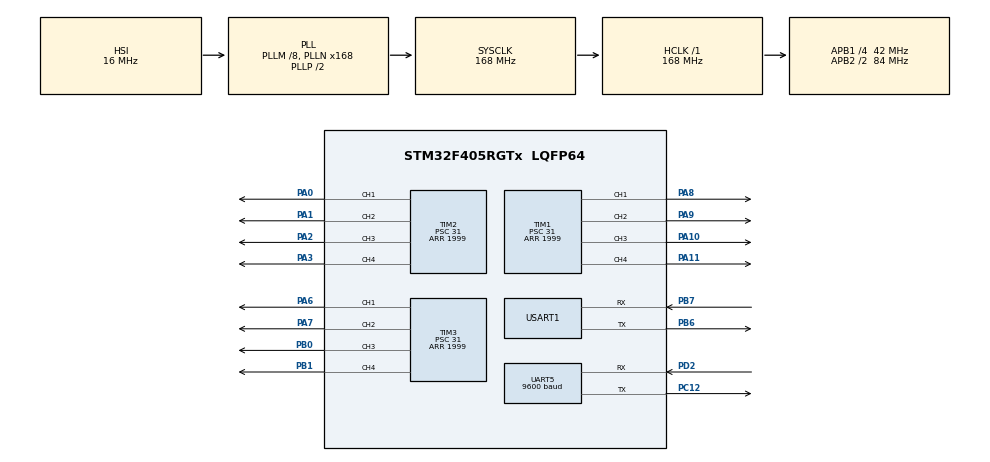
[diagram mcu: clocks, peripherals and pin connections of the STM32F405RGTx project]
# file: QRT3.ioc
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Dma.Request0=UART5_RX
Dma.Request1=UART5_TX
Dma.Request2=USART1_RX
Dma.Request3=USART1_TX
Dma.UART5_RX.0.Direction=DMA_PERIPH_TO_MEMORY
Dma.UART5_RX.0.FIFOMode=DMA_FIFOMODE_DISABLE
Dma.UART5_RX.0.Instance=DMA1_Stream0
Dma.UART5_RX.0.MemDataAlignment=DMA_MDATAALIGN_BYTE
Dma.UART5_RX.0.MemInc=DMA_MINC_ENABLE
Dma.UART5_RX.0.Mode=DMA_CIRCULAR
Dma.UART5_RX.0.PeriphDataAlignment=DMA_PDATAALIGN_BYTE
Dma.UART5_RX.0.PeriphInc=DMA_PINC_DISABLE
Dma.UART5_RX.0.Priority=DMA_PRIORITY_LOW
Dma.UART5_TX.1.Direction=DMA_MEMORY_TO_PERIPH
Dma.UART5_TX.1.FIFOMode=DMA_FIFOMODE_DISABLE
Dma.UART5_TX.1.Instance=DMA1_Stream7
Dma.UART5_TX.1.MemDataAlignment=DMA_MDATAALIGN_BYTE
Dma.UART5_TX.1.MemInc=DMA_MINC_ENABLE
Dma.UART5_TX.1.Mode=DMA_CIRCULAR
Dma.UART5_TX.1.PeriphDataAlignment=DMA_PDATAALIGN_BYTE
Dma.UART5_TX.1.PeriphInc=DMA_PINC_DISABLE
Dma.UART5_TX.1.Priority=DMA_PRIORITY_LOW
Dma.USART1_RX.2.Direction=DMA_PERIPH_TO_MEMORY
Dma.USART1_RX.2.FIFOMode=DMA_FIFOMODE_DISABLE
Dma.USART1_RX.2.Instance=DMA2_Stream2
Dma.USART1_RX.2.MemDataAlignment=DMA_MDATAALIGN_BYTE
Dma.USART1_RX.2.MemInc=DMA_MINC_ENABLE
Dma.USART1_RX.2.Mode=DMA_CIRCULAR
Dma.USART1_RX.2.PeriphDataAlignment=DMA_PDATAALIGN_BYTE
Dma.USART1_RX.2.PeriphInc=DMA_PINC_DISABLE
Dma.USART1_RX.2.Priority=DMA_PRIORITY_HIGH
Dma.USART1_TX.3.Direction=DMA_MEMORY_TO_PERIPH
Dma.USART1_TX.3.FIFOMode=DMA_FIFOMODE_DISABLE
Dma.USART1_TX.3.Instance=DMA2_Stream7
Dma.USART1_TX.3.MemDataAlignment=DMA_MDATAALIGN_BYTE
Dma.USART1_TX.3.MemInc=DMA_MINC_ENABLE
Dma.USART1_TX.3.Mode=DMA_CIRCULAR
Dma.USART1_TX.3.PeriphDataAlignment=DMA_PDATAALIGN_BYTE
Dma.USART1_TX.3.PeriphInc=DMA_PINC_DISABLE
Dma.USART1_TX.3.Priority=DMA_PRIORITY_HIGH
Mcu.Family=STM32F4
Mcu.Name=STM32F405RGTx
Mcu.Package=LQFP64
NVIC.DMA1_Stream0_IRQn=true\:0\:0\:false\:false\:true\:false\:true\:true
NVIC.DMA1_Stream7_IRQn=true\:0\:0\:false\:false\:true\:false\:true\:true
NVIC.DMA2_Stream2_IRQn=true\:2\:0\:true\:false\:true\:false\:true\:true
NVIC.DMA2_Stream7_IRQn=true\:0\:0\:false\:false\:true\:false\:true\:true
NVIC.PriorityGroup=NVIC_PRIORITYGROUP_4
NVIC.UART5_IRQn=true\:0\:0\:false\:false\:true\:true\:true\:true
NVIC.USART1_IRQn=true\:1\:0\:true\:false\:true\:true\:true\:true
PA0-WKUP.Signal=S_TIM2_CH1_ETR
PA1.Signal=S_TIM2_CH2
PA10.Signal=S_TIM1_CH3
PA11.Signal=S_TIM1_CH4
PA2.Signal=S_TIM2_CH3
PA3.Signal=S_TIM2_CH4
PA6.Signal=S_TIM3_CH1
PA7.Signal=S_TIM3_CH2
PA8.Signal=S_TIM1_CH1
PA9.Signal=S_TIM1_CH2
PB0.Signal=S_TIM3_CH3
PB1.Signal=S_TIM3_CH4
PB6.Mode=Asynchronous
PB6.Signal=USART1_TX
PB7.Mode=Asynchronous
PB7.Signal=USART1_RX
PC12.Mode=Asynchronous
PC12.Signal=UART5_TX
PD2.Mode=Asynchronous
PD2.Signal=UART5_RX
ProjectManager.HeapSize=0x200
ProjectManager.StackSize=0x400
ProjectManager.TargetToolchain=MDK-ARM V5.32
RCC.48MHZClocksFreq_Value=84000000
RCC.AHBFreq_Value=168000000
RCC.APB1CLKDivider=RCC_HCLK_DIV4
RCC.APB1Freq_Value=42000000
RCC.APB1TimFreq_Value=84000000
RCC.APB2CLKDivider=RCC_HCLK_DIV2
RCC.APB2Freq_Value=84000000
RCC.APB2TimFreq_Value=168000000
RCC.CortexFreq_Value=168000000
RCC.HCLKFreq_Value=168000000
RCC.HSE_VALUE=25000000
RCC.HSI_VALUE=16000000
RCC.LSE_VALUE=32768
RCC.PLLM=8
RCC.PLLN=168
RCC.SYSCLKFreq_VALUE=168000000
RCC.SYSCLKSource=RCC_SYSCLKSOURCE_PLLCLK
RCC.VCOOutputFreq_Value=336000000
SH.S_TIM1_CH1.0=TIM1_CH1,PWM Generation1 CH1
SH.S_TIM1_CH2.0=TIM1_CH2,PWM Generation2 CH2
SH.S_TIM1_CH3.0=TIM1_CH3,PWM Generation3 CH3
SH.S_TIM1_CH4.0=TIM1_CH4,PWM Generation4 CH4
SH.S_TIM2_CH1_ETR.0=TIM2_CH1,PWM Generation1 CH1
SH.S_TIM2_CH2.0=TIM2_CH2,PWM Generation2 CH2
SH.S_TIM2_CH3.0=TIM2_CH3,PWM Generation3 CH3
SH.S_TIM2_CH4.0=TIM2_CH4,PWM Generation4 CH4
SH.S_TIM3_CH1.0=TIM3_CH1,PWM Generation1 CH1
SH.S_TIM3_CH2.0=TIM3_CH2,PWM Generation2 CH2
SH.S_TIM3_CH3.0=TIM3_CH3,PWM Generation3 CH3
SH.S_TIM3_CH4.0=TIM3_CH4,PWM Generation4 CH4
TIM1.Channel-PWM\ Generation1\ CH1=TIM_CHANNEL_1
TIM1.Channel-PWM\ Generation2\ CH2=TIM_CHANNEL_2
TIM1.Channel-PWM\ Generation3\ CH3=TIM_CHANNEL_3
TIM1.Channel-PWM\ Generation4\ CH4=TIM_CHANNEL_4
TIM1.Period=1999
TIM1.Prescaler=31
TIM2.Channel-PWM\ Generation1\ CH1=TIM_CHANNEL_1
TIM2.Channel-PWM\ Generation2\ CH2=TIM_CHANNEL_2
TIM2.Channel-PWM\ Generation3\ CH3=TIM_CHANNEL_3
TIM2.Channel-PWM\ Generation4\ CH4=TIM_CHANNEL_4
TIM2.Period=1999
TIM2.Prescaler=31
TIM3.Channel-PWM\ Generation1\ CH1=TIM_CHANNEL_1
TIM3.Channel-PWM\ Generation2\ CH2=TIM_CHANNEL_2
TIM3.Channel-PWM\ Generation3\ CH3=TIM_CHANNEL_3
TIM3.Channel-PWM\ Generation4\ CH4=TIM_CHANNEL_4
TIM3.Period=1999
TIM3.Prescaler=31
UART5.BaudRate=9600
UART5.VirtualMode=Asynchronous
USART1.VirtualMode=VM_ASYNC
VP_TIM1_VS_ClockSourceINT.Mode=Internal
VP_TIM2_VS_ClockSourceINT.Mode=Internal
VP_TIM3_VS_ClockSourceINT.Mode=Internal
board=custom

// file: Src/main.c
/* USER CODE BEGIN Header */
/**
  ******************************************************************************
  * @file           : main.c
  * @brief          : Main program body
  ******************************************************************************
  * @attention
  *
  * <h2><center>&copy; Copyright (c) 2022 STMicroelectronics.
  * All rights reserved.</center></h2>
  *
  * This software component is licensed by ST under BSD 3-Clause license,
  * the "License"; You may not use this file except in compliance with the
  * License. You may obtain a copy of the License at:
  *                        opensource.org/licenses/BSD-3-Clause
  *
  ******************************************************************************
  */
/* USER CODE END Header */
#include "main.h"
#include "dma.h"
#include "tim.h"
#include "usart.h"
#include "gpio.h"

/* USER CODE BEGIN Includes */
#include "stdio.h"
#include "includes.h"
#include "attitude_pid.h"
#include "rasp_command.h"
#include "motortest.h"
#include "JY901.h"
#include "pwm_control.h"
#include "position_pid.h"
#include "STMFlash.h"
/* USER CODE END Includes */

/* USER CODE BEGIN PTD */
#define START_TASK_PRIO 3
//任务堆栈大小
#define START_STK_SIZE 128
//任务控制块
OS_TCB StartTaskTCB;
//任务堆栈
CPU_STK START_TASK_STK[START_STK_SIZE];
//任务函数
void start_task(void *p_arg);

void Water_Attitude_Control(control_t *output);
uint8_t ubuf[128];
#define INFO(...) HAL_UART_Transmit(&huart1,\
										 (uint8_t *)ubuf,\
										 sprintf((char *)ubuf,__VA_ARGS__),\
										 0xffff);

int fputc(int ch,FILE *f){
	HAL_UART_Transmit(&huart1,(uint8_t *)&ch,1,0xffff);
	return ch;
};

struct ORDER{
float angle[3];
float velocity[3];
float model[4];}order;

//communicate任务
//设置任务优先级
#define COMMUNICATE_TASK_PRIO 6					// SBUS 信号的更新是在串口中断中进行的
//任务堆栈大小
#define COMMUNICATE_STK_SIZE 512
//任务控制块
OS_TCB CommunicateTaskTCB;
//任务堆栈
CPU_STK COMMUNICATE_TASK_STK[COMMUNICATE_STK_SIZE];
//led0任务
void communicate_task(void *p_arg);

//sensorTask 参数配置任务 在线调试参数并写入flash
//设置任务优先级
#define SENSOR_TASK_PRIO 5
//任务堆栈大小
#define SENSOR_STK_SIZE 512
//任务控制块
OS_TCB SensorTaskTCB;
//任务堆栈
CPU_STK SENSOR_TASK_STK[SENSOR_STK_SIZE];
//motor任务
uint8_t sensor_task(void *p_arg);

//stabalizer任务
//设置任务优先级
#define STABILIZATION_TASK_PRIO 4
//任务堆栈大小
#define STABILIZATION_STK_SIZE 2048
//任务控制块
OS_TCB StabilizationTaskTCB;
//任务堆栈
CPU_STK STABILIZATION_TASK_STK[STABILIZATION_STK_SIZE];
//led0任务
void stabilization_task(void *p_arg);

//config 参数配置任务 在线调试参数并写入flash
//设置任务优先级
#define TRANSMISSION_TASK_PRIO 6			// 这个任务的优先级对串口收发的速度影响很大，不可太低，更改之后要重新测试串口3通信
//任务堆栈大小
#define TRANSMISSION_STK_SIZE 1024
//任务控制块
OS_TCB TransmissionTaskTCB;
//任务堆栈
CPU_STK TRANSMISSION_TASK_STK[TRANSMISSION_STK_SIZE];
//motor任务
uint8_t transmission_task(void *p_arg);

//开始任务函数
void start_task(void *p_arg)
{
	OS_ERR err;
	CPU_SR_ALLOC();
	p_arg = p_arg;
	BSP_Init();

#if OS_CFG_STAT_TASK_EN > 0u
	OSStatTaskCPUUsageInit(&err); //统计任务
#endif

#ifdef CPU_CFG_INT_DIS_MEAS_EN //如果使能了测量中断关闭时间
	CPU_IntDisMeasMaxCurReset();
#endif

#if OS_CFG_SCHED_ROUND_ROBIN_EN //当使用时间片轮转的时候
	//使能时间片轮转调度功能,设置默认的时间片长度
	OSSchedRoundRobinCfg(DEF_ENABLED, 1, &err);
#endif
	__HAL_RCC_CRC_CLK_ENABLE(); //使能CRC时钟

	OS_CRITICAL_ENTER();		//进入临界区

	//communicate任务 通信任务
	OSTaskCreate((OS_TCB *)&CommunicateTaskTCB,
				 (CPU_CHAR *)"Communicate task",
				 (OS_TASK_PTR)communicate_task,
				 (void *)0,
				 (OS_PRIO)COMMUNICATE_TASK_PRIO,
				 (CPU_STK *)&COMMUNICATE_TASK_STK[0],
				 (CPU_STK_SIZE)COMMUNICATE_STK_SIZE / 10,
				 (CPU_STK_SIZE)COMMUNICATE_STK_SIZE,
				 (OS_MSG_QTY)0,
				 (OS_TICK)10,
				 (void *)0,
				 (OS_OPT)OS_OPT_TASK_STK_CHK | OS_OPT_TASK_STK_CLR | OS_OPT_TASK_SAVE_FP,
				 (OS_ERR *)&err);

				 //Sensor任务
	OSTaskCreate((OS_TCB *)&SensorTaskTCB,
				(CPU_CHAR *)"Sensor task",
				(OS_TASK_PTR)sensor_task,
				(void *)0,
				(OS_PRIO)SENSOR_TASK_PRIO,
				(CPU_STK *)&SENSOR_TASK_STK[0],
				(CPU_STK_SIZE)SENSOR_STK_SIZE / 10,
				(CPU_STK_SIZE)SENSOR_STK_SIZE,
				(OS_MSG_QTY)0,
				(OS_TICK)10,
				(void *)0,
				(OS_OPT)OS_OPT_TASK_STK_CHK | OS_OPT_TASK_STK_CLR |OS_OPT_TASK_SAVE_FP,
				(OS_ERR *)&err);

	OSTaskCreate((OS_TCB *)&StabilizationTaskTCB,
				 (CPU_CHAR *)"Stabilization task",
				 (OS_TASK_PTR)stabilization_task,
				 (void *)0,
				 (OS_PRIO)STABILIZATION_TASK_PRIO,
				 (CPU_STK *)&STABILIZATION_TASK_STK[0],
				 (CPU_STK_SIZE)STABILIZATION_STK_SIZE / 10,
				 (CPU_STK_SIZE)STABILIZATION_STK_SIZE,
				 (OS_MSG_QTY)0,
				 (OS_TICK)10,
				 (void *)0,
				 (OS_OPT)OS_OPT_TASK_STK_CHK | OS_OPT_TASK_STK_CLR |OS_OPT_TASK_SAVE_FP,
				 (OS_ERR *)&err);

//	OSTaskCreate((OS_TCB *)&TransmissionTaskTCB,
//				 (CPU_CHAR *)"Transmission task",
//				 (OS_TASK_PTR)transmission_task,
//				 (void *)0,
//				 (OS_PRIO)TRANSMISSION_TASK_PRIO,
//				 (CPU_STK *)&TRANSMISSION_TASK_STK[0],
//				 (CPU_STK_SIZE)TRANSMISSION_STK_SIZE / 10,
//				 (CPU_STK_SIZE)TRANSMISSION_STK_SIZE,
//				 (OS_MSG_QTY)0,
//				 (OS_TICK)10,
//				 (void *)0,
//				 (OS_OPT)OS_OPT_TASK_STK_CHK | OS_OPT_TASK_STK_CLR | OS_OPT_TASK_SAVE_FP,
//				 (OS_ERR *)&err);

	OS_TaskSuspend((OS_TCB *)&StartTaskTCB, &err); //挂起开始任务

	OS_CRITICAL_EXIT(); //退出临界区
}

// 在线调试参数用
// 上传参数到地面站
uint8_t transmission_task(void *p_arg)
{
	OS_ERR err;
	CPU_SR_ALLOC();
	uint8_t lenth;

	lenth = sizeof(configParam);
	lenth = lenth / 4 + (lenth % 4 ? 1 : 0);
	STMFLASH_Read(CONFIG_PARAM_ADDR, (uint32_t *)&configParam, lenth);

	while (1)
	{
//		uploadPID();
//		uploadStateInfo();
//		uploadMotoInfo();
//		uploadPowerAndWaterInfo();
//		uploadIMUInfo();
//		uploadGPSInfo();

		// // 校验值不一致，说明参数发生了改变,更新到flash中
		if (configParamCksum(&configParam) != configParam.cksum) // 参数的校验值
		{
			INFO("enter this progress\r\n");
			configParam.cksum = configParamCksum(&configParam);  // 更新校验值
			STMFLASH_Write(CONFIG_PARAM_ADDR, (uint32_t *)&configParam, lenth); /*写入stm32 flash*/
			attitudeResetAllPID();												 //PID复位
			positionResetAllPID();
			attitudeControlInit(); // 用新的参数重新初始化pid
			positionControlInit();
		}

		OSTimeDly(20, OS_OPT_TIME_DLY, &err);
	}
}

void stabilization_task(void *p_arg)
{
	OS_ERR err;
	CPU_SR_ALLOC();
//    motor_test();
	uint8_t lenth = sizeof(configParam);
	lenth = lenth / 4 + (lenth % 4 ? 1 : 0);
	STMFLASH_Read(CONFIG_PARAM_ADDR, (uint32_t *)&configParam, lenth);   //载入PID参数
	attitudeControlInit();
	while(1)
	{
	    Water_Attitude_Control(&control);
		pwmControl(&control);
		OSTimeDly(60, OS_OPT_TIME_DLY, &err);
	}
}

uint8_t sensor_task(void *p_arg)
{
	OS_ERR err;
	CPU_SR_ALLOC();

	float Gyro[3], Angle[3];
	uint8_t count = 20;

	HAL_UART_Receive_DMA(&huart1,aRxBuffer1,sizeof(aRxBuffer1));
	HAL_UART_Receive_DMA(&huart5,aRxBuffer2,sizeof(aRxBuffer2));

	//滤波初始化

	while (count--)
	{
		sensorReadAngle(Gyro, Angle);
	}

	// 初始化之后，所有期望值复制为实际值
	state.realAngle.roll = Angle[0];
	state.realAngle.pitch = Angle[1];
	state.realAngle.yaw = Angle[2];
	setstate.expectedAngle.roll = state.realAngle.roll;
	setstate.expectedAngle.pitch = state.realAngle.pitch;
	setstate.expectedAngle.yaw = state.realAngle.yaw; //初始化之后将当前的姿态角作为期望姿态角初值

	while (1)
	{

		/********************************************** 获取期望值与测量值*******************************************/
		sensorReadAngle(Gyro, Angle);
		//反馈值
		state.realAngle.roll = Angle[0];
		state.realAngle.pitch = Angle[1];
		state.realAngle.yaw = Angle[2];
//		INFO("Agnle:%f,%f,%f\n ",Angle[0],Angle[1],Angle[2]);
		state.realRate.roll = Gyro[0];
		state.realRate.pitch = Gyro[1];
		state.realRate.yaw = Gyro[2];
		OSTimeDly(30, OS_OPT_TIME_DLY, &err);

	}
}

//void Water_Attitude_Control2(control_t *output)
//{
//    float turn_speed;
//    float z_speed;
//    float forward_speed;

///*************************** 针对 手动模式和定高模式 以及 模式切换做预处理 ***********************************/
//    // 手动模式下油门通道转化为油门基准值
//    if (command[CARRY_MODE] == HAND_MODE)
//    {
//        posPid.isAltHoldMode = false;
//    }
//    // 定高（定深）时油门保持在设定的基准值，这个基准值刚好让机器人悬浮，油门通道此时转化为 z 轴速度
//    else if (command[CARRY_MODE] == DEPTH_MODE)
//    {
//        posPid.isAltHoldMode = true;
//    }
//    // 由手动模式切换到定深模式 // 由定深模式切换到手动模式
//    if ((posPid.isAltHoldMode == true && posPid.preMode == false) ||
//        (posPid.isAltHoldMode == false && posPid.preMode == true))
//    {
//        positionResetAllPID();
//        control.depthOut = 0; // 深度环PID置0
//    }
//    posPid.preMode = posPid.isAltHoldMode; // 当前模式变为pre模式

//    turn_speed = pwm2Range(command[YAW], -1000.0f, 1000.0f);
//    if (turn_speed < 30.0f && turn_speed > -30.0f)
//        turn_speed = 0.f; // 死区
//    z_speed = pwm2Range(command[THROTTLE], -1000.0f, 1000.0f);
//    if (z_speed < 30.0f && z_speed > -30.0f)
//        z_speed = 0.f; // 死区
///*************************** 针对 手动模式和定高模式 以及 模式切换做预处理 ***********************************/

///*************************************** 定高模式下控制 ************************************************/
//    // 高度环 PID 计算并作用到油门值，调整直到达到悬浮状态
//    if (posPid.isAltHoldMode == true)
//    {
//        // 不使能时，电机锁定
//        if (command[ALTHOLD_ENABLE] == HOLD_DISABLE) // 定高禁止，不运动，复位所有PID
//        {
//            attitudeResetAllPID(); //PID复位
//            positionResetAllPID();
//            setstate.expectedAngle.yaw = state.realAngle.yaw;
//            setstate.expectedAngle.roll = state.realAngle.roll;
//            setstate.expectedAngle.pitch = state.realAngle.pitch;
//            setstate.expectedDepth = state.realDepth;
//            control.thrust = 0;
//            control.yaw = 0;
//            control.roll = 0;
//            control.pitch = 0;
//            control.depthOut = 0; // 深度环PID置0
//        }
//        // 使能时 开始定高控制
//        else if (command[ALTHOLD_ENABLE] == HOLD_ENABLE)
//        {
//            setstate.expectedAngle.roll = pwm2Range(command[ROLL], -30.0f, 30.0f);
//            if (setstate.expectedAngle.roll < 0.9f && setstate.expectedAngle.roll > -0.9f)
//                setstate.expectedAngle.roll = 0.f; // 摇杆死区
//            setstate.expectedAngle.pitch = pwm2Range(command[PITCH], -30.0f, 30.0f);
//            if (setstate.expectedAngle.pitch < 0.9f && setstate.expectedAngle.pitch > -0.9f)
//                setstate.expectedAngle.pitch = 0.f; //遥感死区

////            setstate.expectedAngle.yaw -= turn_speed * zoom_factor_yaw * ft;
//            if (setstate.expectedAngle.yaw > 180.0f)
//                setstate.expectedAngle.yaw -= 360.0f;
//            if (setstate.expectedAngle.yaw < -180.0f)
//                setstate.expectedAngle.yaw += 360.0f;
////            setstate.expectedDepth -= z_speed * zoom_factor_vz * ft; // 向上调整时期望深度减小
//            depthPID(&state.realDepth, &setstate.expectedDepth, &control);
//            attitudeAnglePID(&state.realAngle, &setstate.expectedAngle, &setstate.expectedRate); /* 角度环PID */
//            attitudeRatePID(&state.realRate, &setstate.expectedRate, &control);                  /* 角速度环PID */
//        }
//    }
///*************************************** 定高模式下控制 ************************************************/

///******************************************* 手动模式下控制 ********************************************/
//    if (posPid.isAltHoldMode == false)
//    {
//        // 手动模式下 油门通道为0时不运动，复位所有 姿态pid与pid输出
//        control.thrust = pwm2thrust(command[THROTTLE]);
//        setstate.expectedDepth = state.realDepth;          // 手动模式下期望高度始终等于当前高度/
//                                                           // 切换到定高时从当前高度开始定高
//        if (control.thrust < 200 && control.thrust > -200)
//            control.thrust = 0;                            // 油门死区

//        if ((int)control.thrust == 0 && (int)turn_speed == 0) // 油门和方向摇杆都居中，机器人不使能
//        {
//            attitudeResetAllPID(); //PID复位
//            setstate.expectedAngle.yaw = state.realAngle.yaw;
//            setstate.expectedAngle.roll = state.realAngle.roll;
//            setstate.expectedAngle.pitch = state.realAngle.pitch;
//            control.yaw = 0;
//            control.roll = 0;
//            control.pitch = 0;
//        }
//        else // 油门有输出，从遥控器获得期望值，姿态PID		// 或者油门没输出，原地转圈
//        {
//            setstate.expectedAngle.roll = pwm2Range(command[ROLL], -30.0f, 30.0f);
//            if (setstate.expectedAngle.roll < 0.9f && setstate.expectedAngle.roll > -0.9f)
//                setstate.expectedAngle.roll = 0.f; // 摇杆死区
//            setstate.expectedAngle.pitch = pwm2Range(command[PITCH], -30.0f, 30.0f);
//            if (setstate.expectedAngle.pitch < 0.9f && setstate.expectedAngle.pitch > -0.9f)
//                setstate.expectedAngle.pitch = 0.f; //遥感死区
////            setstate.expectedAngle.yaw -= turn_speed * zoom_factor_yaw * ft;
//            if (setstate.expectedAngle.yaw > 180.0f)
//                setstate.expectedAngle.yaw -= 360.0f;
//            if (setstate.expectedAngle.yaw < -180.0f)
//                setstate.expectedAngle.yaw += 360.0f;
//            attitudeAnglePID(&state.realAngle, &setstate.expectedAngle, &setstate.expectedRate); /* 角度环PID */
//            attitudeRatePID(&state.realRate, &setstate.expectedRate, &control);                  /* 角速度环PID */
//        }
//    }
///******************************************* 手动模式下控制 ********************************************/
//}

void Water_Attitude_Control(control_t *output)
{

	control.forward_thrust=order.velocity[FORWARD_SPEED];
	control.turn_thrust=order.velocity[turn_SPEED];

/******************************************* 手动模式下控制 ********************************************/
    if (order.model[CARRY_MODE] == HAND_MODE)
    {

        // 手动模式下 油门通道为0时不运动，复位所有 姿态pid与pid输出
        setstate.expectedDepth = state.realDepth;          // 手动模式下期望高度始终等于当前高度/
                                                           // 切换到定高时从当前高度开始定高
        if (order.velocity[THROTTLE] < 200 && order.velocity[THROTTLE] > -200)
            order.velocity[THROTTLE] = 0;                            // 油门死区

		if (order.angle[YAW] < 30.0f && order.angle[YAW] > -30.0f)
			order.angle[YAW]= 0.f; // 死区

        if ((int)order.velocity[THROTTLE] == 1 && (int)order.angle[YAW] == 1) // 油门和方向摇杆都居中，机器人不使能
        {
            attitudeResetAllPID(); //PID复位
            setstate.expectedAngle.yaw = state.realAngle.yaw;
            setstate.expectedAngle.roll = state.realAngle.roll;
            setstate.expectedAngle.pitch = state.realAngle.pitch;
            control.yaw = 0;
            control.roll = 0;
            control.pitch = 0;
        }
        else // 油门有输出，从遥控器获得期望值，姿态PID		// 或者油门没输出，原地转圈
        {
			control.thrust=order.velocity[THROTTLE];
			setstate.expectedAngle.roll = order.angle[ROLL];
            if (setstate.expectedAngle.roll < 0.9f && setstate.expectedAngle.roll > -0.9f)
                setstate.expectedAngle.roll = 0.f; // 摇杆死区
			setstate.expectedAngle.pitch=order.angle[PITCH];
            if (setstate.expectedAngle.pitch < 0.9f && setstate.expectedAngle.pitch > -0.9f)
                setstate.expectedAngle.pitch = 0.f; //遥感死区
            setstate.expectedAngle.yaw = order.angle[YAW];//need  adjustment;
            if (setstate.expectedAngle.yaw > 180.0f)
                setstate.expectedAngle.yaw -= 360.0f;
            if (setstate.expectedAngle.yaw < -180.0f)
                setstate.expectedAngle.yaw += 360.0f;
//			INFO("order:%f,%f,%f,%f\n",order.angle[ROLL],order.angle[PITCH],order.angle[YAW],order.velocity[THROTTLE]);
//			INFO("realangle:%f,%f,%f\n",state.realAngle.roll,state.realAngle.pitch,state.realAngle.yaw);
//			INFO("setstate:%f,%f,%f\n",setstate.expectedAngle.roll,setstate.expectedAngle.pitch,setstate.expectedAngle.yaw);
            attitudeAnglePID(&state.realAngle, &setstate.expectedAngle, &setstate.expectedRate); /* 角度环PID */
//			INFO("setstate.expectedRate:%f,%f,%f\n",setstate.expectedRate.roll,setstate.expectedRate.pitch,setstate.expectedRate.yaw);
            attitudeRatePID(&state.realRate, &setstate.expectedRate, &control);                  /* 角速度环PID */
			INFO("control:%f,%f,%f,%f\n",control.roll,control.pitch,control.yaw,control.thrust);

        }
    }
/******************************************* 手动模式下控制 ********************************************/
}

void communicate_task(void *p_arg)
{
	OS_ERR err;
	CPU_SR_ALLOC();

	//等待遥控器通讯正常，否则一直等待。遥控器校正，初值初始化
	//读遥控器数据
	while (1)
	{
		UART_ReadCOMMAND(order.angle,order.velocity,order.model);
		OSTimeDly(40, OS_OPT_TIME_DLY, &err);
	}
}

void HAL_UART_RxCpltCallback(UART_HandleTypeDef *huart)
{

	if (huart==&huart5) //如果是串口5
	{
		CopeSerial5Data(aRxBuffer2[0]);
	}

	if(huart->Instance==USART1)//如果是串口1
	{
		CopeSerialData(aRxBuffer1[0]);
//		INFO("%d",aRxBuffer1[0]);
	}

	if (huart->Instance==USART3)//如果是串口3
	{

	}

	if (huart->Instance == UART4) //如果是串口4
	{

	}
}
/* USER CODE END PTD */

void SystemClock_Config(void);

int main(void)
{
  /* USER CODE BEGIN 1 */
  OS_ERR err;
  CPU_SR_ALLOC();
  /* USER CODE END 1 */

  /* MCU Configuration--------------------------------------------------------*/

  /* Reset of all peripherals, Initializes the Flash interface and the Systick. */
  HAL_Init();

  /* Configure the system clock */
  SystemClock_Config();

  /* Initialize all configured peripherals */
  MX_GPIO_Init();
  MX_DMA_Init();
  MX_TIM1_Init();
  MX_TIM2_Init();
  MX_TIM3_Init();
  MX_UART5_Init();
  MX_USART1_UART_Init();
  /* USER CODE BEGIN 2 */
  PWM_init();
	OSInit(&err);		//初始化UCOSIII
    OS_CRITICAL_ENTER();//进入临界区
    //创建开始任务
    OSTaskCreate((OS_TCB 	* )&StartTaskTCB,			//任务控制块
                 (CPU_CHAR* )"start task", 				//任务名字
                 (OS_TASK_PTR)start_task, 				//任务函数
                 (void		* )0,						//传递给任务函数的参数
                 (OS_PRIO	  )START_TASK_PRIO,     //任务优先级
                 (CPU_STK * )&START_TASK_STK[0],	//任务堆栈基地址
                 (CPU_STK_SIZE)START_STK_SIZE/10,	//任务堆栈深度限位
                 (CPU_STK_SIZE)START_STK_SIZE,		//任务堆栈大小
                 (OS_MSG_QTY)0,						//任务内部消息队列能够接收的最大消息数目,为0时禁止接收消息
                 (OS_TICK	  )0,						//当使能时间片轮转时的时间片长度，为0时为默认长度，
                 (void   	* )0,						//用户补充的存储区
                 (OS_OPT    )OS_OPT_TASK_STK_CHK|OS_OPT_TASK_STK_CLR, //任务选项
                 (OS_ERR 	* )&err);				//存放该函数错误时的返回值
    OS_CRITICAL_EXIT();	//退出临界区

    OSStart(&err); //启动多任务系统，控制权交给uC/OS-III
  /* USER CODE END 2 */

  /* Infinite loop */
  while (1)
  {

    /* USER CODE BEGIN 3 */
  /* USER CODE BEGIN 2 */
  }
  /* USER CODE END 3 */
}

void SystemClock_Config(void)
{
  RCC_OscInitTypeDef RCC_OscInitStruct = {0};
  RCC_ClkInitTypeDef RCC_ClkInitStruct = {0};

  /** Configure the main internal regulator output voltage
  */
  __HAL_RCC_PWR_CLK_ENABLE();
  __HAL_PWR_VOLTAGESCALING_CONFIG(PWR_REGULATOR_VOLTAGE_SCALE1);

  /** Initializes the RCC Oscillators according to the specified parameters
  * in the RCC_OscInitTypeDef structure.
  */
  RCC_OscInitStruct.OscillatorType = RCC_OSCILLATORTYPE_HSI;
  RCC_OscInitStruct.HSIState = RCC_HSI_ON;
  RCC_OscInitStruct.HSICalibrationValue = RCC_HSICALIBRATION_DEFAULT;
  RCC_OscInitStruct.PLL.PLLState = RCC_PLL_ON;
  RCC_OscInitStruct.PLL.PLLSource = RCC_PLLSOURCE_HSI;
  RCC_OscInitStruct.PLL.PLLM = 8;
  RCC_OscInitStruct.PLL.PLLN = 168;
  RCC_OscInitStruct.PLL.PLLP = RCC_PLLP_DIV2;
  RCC_OscInitStruct.PLL.PLLQ = 4;
  if (HAL_RCC_OscConfig(&RCC_OscInitStruct) != HAL_OK)
  {
    Error_Handler();
  }

  /** Initializes the CPU, AHB and APB buses clocks
  */
  RCC_ClkInitStruct.ClockType = RCC_CLOCKTYPE_HCLK|RCC_CLOCKTYPE_SYSCLK
                              |RCC_CLOCKTYPE_PCLK1|RCC_CLOCKTYPE_PCLK2;
  RCC_ClkInitStruct.SYSCLKSource = RCC_SYSCLKSOURCE_PLLCLK;
  RCC_ClkInitStruct.AHBCLKDivider = RCC_SYSCLK_DIV1;
  RCC_ClkInitStruct.APB1CLKDivider = RCC_HCLK_DIV4;
  RCC_ClkInitStruct.APB2CLKDivider = RCC_HCLK_DIV2;

  if (HAL_RCC_ClockConfig(&RCC_ClkInitStruct, FLASH_LATENCY_5) != HAL_OK)
  {
    Error_Handler();
  }
}

/* USER CODE BEGIN 4 */

#pragma pack()

/* USER CODE END 4 */

void Error_Handler(void)
{
  __disable_irq();
  while (1)
  {
  }
}
